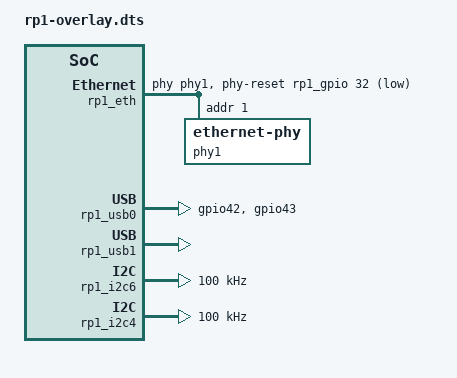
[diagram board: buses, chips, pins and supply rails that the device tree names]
// SPDX-License-Identifier: (GPL-2.0 OR MIT)

#include <dt-bindings/gpio/gpio.h>
//#include <dt-bindings/interrupt-controller/irq.h>
//#include <dt-bindings/clock/raspberrypi,rp1-clocks.h>

/dts-v1/;
/plugin/;

/ {
	fragment@0 {
		target = <&pcie2>;
		rp1_target: __overlay__ {
		};
	};

	fragment@1 {
		target = <&clocks>;
		clocks_target: __overlay__ {
		};
	};

	fragment@2 {
		target-path = "/";
		root: __overlay__ {
		};
	};

	fragment@3 {
		target = <&aliases>;
		__overlay__ {
			//drm-dsi1 = &rp1_dsi0;
			//drm-dsi2 = &rp1_dsi1;
			ethernet0 = &rp1_eth;
			gpio0 = &rp1_gpio;
			gpiochip0 = &rp1_gpio;
			i2c0 = &rp1_i2c0;
			i2c1 = &rp1_i2c1;
			i2c2 = &rp1_i2c2;
			i2c3 = &rp1_i2c3;
			i2c_csi_dsi0 = &rp1_i2c6;
			i2c_csi_dsi1 = &rp1_i2c4;
			i2c10 = &rp1_i2c6;
			i2c11 = &rp1_i2c4;
			i2c_vc = &rp1_i2c0;
			i2c_arm = &rp1_i2c1;
			pio0 = &rp1_pio;
			serial0 = &rp1_uart0;
			serial1 = &rp1_uart1;
			serial2 = &rp1_uart2;
			serial3 = &rp1_uart3;
			serial4 = &rp1_uart4;
			spi0 = &rp1_spi0;
			spi1 = &rp1_spi1;
			spi2 = &rp1_spi2;
			spi3 = &rp1_spi3;
			spi4 = &rp1_spi4;
			spi5 = &rp1_spi5;
			uart0 = &rp1_uart0;
			uart1 = &rp1_uart1;
			uart2 = &rp1_uart2;
			uart3 = &rp1_uart3;
			uart4 = &rp1_uart4;
			usb0 = &rp1_usb0;
			usb1 = &rp1_usb1;
		};
	};

	__exports__ {
		ethernet0;
	};
};

#include "rp1.dtsi"

&rp1 {
	// PCIe address space layout:
	// 00_00000000-00_00xxxxxx = RP1 peripherals
	// 10_00000000-1x_xxxxxxxx = up to 64GB system RAM

	// outbound access aimed at PCIe 0_00xxxxxx -> RP1 c0_40xxxxxx
	// This is the RP1 peripheral space
	ranges = <0xc0 0x40000000
		  0x02000000 0x00 0x00000000
		  0x00 0x00410000>;

	dma-ranges =
	// inbound RP1 1x_xxxxxxxx -> PCIe 1x_xxxxxxxx
		     <0x10 0x00000000
		      0x43000000 0x10 0x00000000
		      0x10 0x00000000>,

	// inbound RP1 c0_40xxxxxx -> PCIe 00_00xxxxxx
	// This allows the RP1 DMA controller to address RP1 hardware
		     <0xc0 0x40000000
		      0x02000000 0x0 0x00000000
		      0x0 0x00410000>,

	// inbound RP1 0x_xxxxxxxx -> PCIe 1x_xxxxxxxx
		     <0x00 0x00000000
		      0x02000000 0x10 0x00000000
		      0x10 0x00000000>;
};

// Expose RP1 nodes as system nodes with labels

&rp1_dma  {
	status = "okay";
};

ethernet0: &rp1_eth {
	status = "okay";
	phy-handle = <&phy1>;
	phy-reset-gpios = <&rp1_gpio 32 GPIO_ACTIVE_LOW>;
	phy-reset-duration = <5>;

	phy1: ethernet-phy@1 {
		reg = <0x1>;
		brcm,powerdown-enable;
	};
};

gpio: &rp1_gpio {
	status = "okay";
};

&rp1_usb0 {
	pinctrl-0 = <&usb_vbus_pins>;
	pinctrl-names = "default";
	status = "okay";
};

&rp1_usb1 {
	status = "okay";
};

&rp1_pwm1 {
	status = "disabled";
	pinctrl-0 = <&rp1_pwm1_gpio45>;
	pinctrl-names = "default";
};

i2c_csi_dsi0: &rp1_i2c6 { // Note: This is for MIPI0 connector only
	pinctrl-0 = <&rp1_i2c6_38_39>;
	pinctrl-names = "default";
	clock-frequency = <100000>;
	symlink = "i2c-6";
};

i2c_csi_dsi1: &rp1_i2c4 { // Note: This is for MIPI1 connector only
	pinctrl-0 = <&rp1_i2c4_40_41>;
	pinctrl-names = "default";
	clock-frequency = <100000>;
	symlink = "i2c-4";
};

&rp1_gpio {
	gpio-line-names =
		"ID_SDA", // GPIO0
		"ID_SCL", // GPIO1
		"GPIO2", // GPIO2
		"GPIO3", // GPIO3
		"GPIO4", // GPIO4
		"GPIO5", // GPIO5
		"GPIO6", // GPIO6
		"GPIO7", // GPIO7
		"GPIO8", // GPIO8
		"GPIO9", // GPIO9
		"GPIO10", // GPIO10
		"GPIO11", // GPIO11
		"GPIO12", // GPIO12
		"GPIO13", // GPIO13
		"GPIO14", // GPIO14
		"GPIO15", // GPIO15
		"GPIO16", // GPIO16
		"GPIO17", // GPIO17
		"GPIO18", // GPIO18
		"GPIO19", // GPIO19
		"GPIO20", // GPIO20
		"GPIO21", // GPIO21
		"GPIO22", // GPIO22
		"GPIO23", // GPIO23
		"GPIO24", // GPIO24
		"GPIO25", // GPIO25
		"GPIO26", // GPIO26
		"GPIO27", // GPIO27

		"PCIE_RP1_WAKE", // GPIO28
		"FAN_TACH", // GPIO29
		"HOST_SDA", // GPIO30
		"HOST_SCL", // GPIO31
		"ETH_RST_N", // GPIO32
		"-", // GPIO33

		"CD0_IO0_MICCLK", // GPIO34
		"CD0_IO0_MICDAT0", // GPIO35
		"RP1_PCIE_CLKREQ_N", // GPIO36
		"-", // GPIO37
		"CD0_SDA", // GPIO38
		"CD0_SCL", // GPIO39
		"CD1_SDA", // GPIO40
		"CD1_SCL", // GPIO41
		"USB_VBUS_EN", // GPIO42
		"USB_OC_N", // GPIO43
		"RP1_STAT_LED", // GPIO44
		"FAN_PWM", // GPIO45
		"CD1_IO0_MICCLK", // GPIO46
		"2712_WAKE", // GPIO47
		"CD1_IO1_MICDAT1", // GPIO48
		"EN_MAX_USB_CUR", // GPIO49
		"-", // GPIO50
		"-", // GPIO51
		"-", // GPIO52
		"-"; // GPIO53

	usb_vbus_pins: usb_vbus_pins {
		function = "vbus1";
		pins = "gpio42", "gpio43";
	};
};
